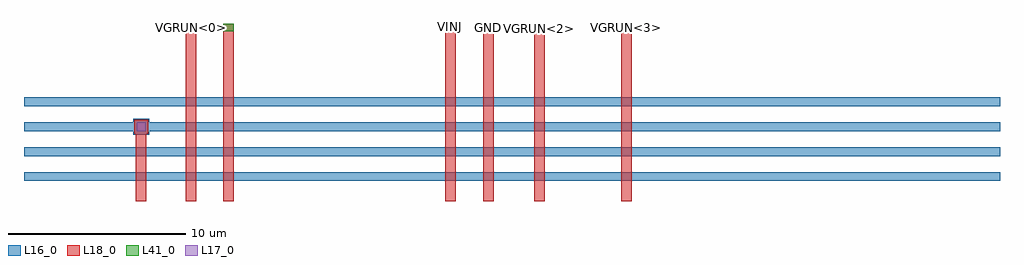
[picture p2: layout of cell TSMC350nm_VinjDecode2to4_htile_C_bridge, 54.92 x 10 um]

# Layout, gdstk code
import gdstk
lib = gdstk.Library(unit=1e-6, precision=1e-09)
def R(c, l, rs):  # rectangles x0, y0, x1, y1
    for r in rs: c.add(gdstk.rectangle(r[:2], r[2:], *l))
L16_0 = (16, 0)
L17_0 = (17, 0)
L18_0 = (18, 0)
L41_0 = (41, 0)

prog_periph_via2_cdns_74 = lib.new_cell('prog_periph_VIA2_CDNS_744348899590')
R(prog_periph_via2_cdns_74, L16_0, [(-0.45,-0.45,0.45,0.45)])
R(prog_periph_via2_cdns_74, L17_0, [(-0.25,-0.25,0.25,0.25)])
R(prog_periph_via2_cdns_74, L18_0, [(-0.4,-0.4,0.4,0.4)])

tsmc350nm_vinjdecode2to4 = lib.new_cell('TSMC350nm_VinjDecode2to4_htile_C_bridge')
R(tsmc350nm_vinjdecode2to4, L41_0, [(9.1,9.54,9.7,10), (11.2,9.57,11.8,10), (33.6,9.57,34.2,10), (28.7,9.59,29.3,10)])
tsmc350nm_vinjdecode2to4.add(gdstk.FlexPath([(0,1.4),(54.92,1.4)], 0.5, ends="flush", simple_path=True, layer=16, datatype=0))  # L16_0
tsmc350nm_vinjdecode2to4.add(gdstk.FlexPath([(0,5.6),(54.92,5.6)], 0.5, ends="flush", simple_path=True, layer=16, datatype=0))  # L16_0
tsmc350nm_vinjdecode2to4.add(gdstk.FlexPath([(0,4.2),(54.92,4.2)], 0.5, ends="flush", simple_path=True, layer=16, datatype=0))  # L16_0
tsmc350nm_vinjdecode2to4.add(gdstk.FlexPath([(0,2.8),(54.92,2.8)], 0.5, ends="flush", simple_path=True, layer=16, datatype=0))  # L16_0
tsmc350nm_vinjdecode2to4.add(gdstk.FlexPath([(6.59,0),(6.59,4.2)], 0.6, ends="flush", simple_path=True, layer=18, datatype=0))  # L18_0
tsmc350nm_vinjdecode2to4.add(gdstk.FlexPath([(24,0),(24,10)], 0.6, ends="flush", simple_path=True, layer=18, datatype=0))  # L18_0
tsmc350nm_vinjdecode2to4.add(gdstk.FlexPath([(26.14,0),(26.14,10)], 0.6, ends="flush", simple_path=True, layer=18, datatype=0))  # L18_0
tsmc350nm_vinjdecode2to4.add(gdstk.FlexPath([(33.9,0),(33.9,10)], 0.6, ends="flush", simple_path=True, layer=18, datatype=0))  # L18_0
tsmc350nm_vinjdecode2to4.add(gdstk.FlexPath([(29,0),(29,10)], 0.6, ends="flush", simple_path=True, layer=18, datatype=0))  # L18_0
tsmc350nm_vinjdecode2to4.add(gdstk.FlexPath([(11.5,0),(11.5,10)], 0.6, ends="flush", simple_path=True, layer=18, datatype=0))  # L18_0
tsmc350nm_vinjdecode2to4.add(gdstk.FlexPath([(9.4,0),(9.4,10)], 0.6, ends="flush", simple_path=True, layer=18, datatype=0))  # L18_0
tsmc350nm_vinjdecode2to4.add(gdstk.Reference(prog_periph_via2_cdns_74, (6.59,4.2)))
tsmc350nm_vinjdecode2to4.add(gdstk.Label('VINJ', (24.01,9.84), layer=18, texttype=0))
tsmc350nm_vinjdecode2to4.add(gdstk.Label('GND', (26.15,9.76), layer=18, texttype=0))
tsmc350nm_vinjdecode2to4.add(gdstk.Label('VGRUN<0>', (9.42,9.76), layer=41, texttype=0))
tsmc350nm_vinjdecode2to4.add(gdstk.Label('VGRUN<1>', (11.51,9.76), layer=41, texttype=0))
tsmc350nm_vinjdecode2to4.add(gdstk.Label('VGRUN<2>', (29.02,9.73), layer=41, texttype=0))
tsmc350nm_vinjdecode2to4.add(gdstk.Label('VGRUN<3>', (33.88,9.76), layer=41, texttype=0))

lib.write_gds('TSMC350nm_VinjDecode2to4_htile_C_bridge.gds')
